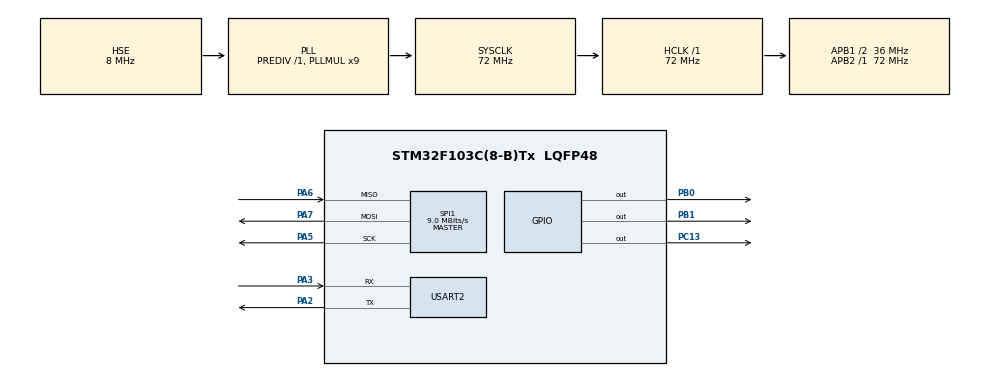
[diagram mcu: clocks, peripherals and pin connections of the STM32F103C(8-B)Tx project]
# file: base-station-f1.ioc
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Dma.Request0=USART2_RX
Dma.USART2_RX.0.Direction=DMA_PERIPH_TO_MEMORY
Dma.USART2_RX.0.Instance=DMA1_Channel6
Dma.USART2_RX.0.MemDataAlignment=DMA_MDATAALIGN_BYTE
Dma.USART2_RX.0.MemInc=DMA_MINC_ENABLE
Dma.USART2_RX.0.Mode=DMA_NORMAL
Dma.USART2_RX.0.PeriphDataAlignment=DMA_PDATAALIGN_BYTE
Dma.USART2_RX.0.PeriphInc=DMA_PINC_DISABLE
Dma.USART2_RX.0.Priority=DMA_PRIORITY_LOW
Mcu.Family=STM32F1
Mcu.Name=STM32F103C(8-B)Tx
Mcu.Package=LQFP48
NVIC.DMA1_Channel6_IRQn=true\:0\:0\:false\:false\:true\:false\:true\:true
NVIC.PriorityGroup=NVIC_PRIORITYGROUP_4
NVIC.USART2_IRQn=true\:0\:0\:false\:false\:true\:true\:true\:true
PA13.Mode=Serial_Wire
PA13.Signal=SYS_JTMS-SWDIO
PA14.Mode=Serial_Wire
PA14.Signal=SYS_JTCK-SWCLK
PA2.Mode=Asynchronous
PA2.Signal=USART2_TX
PA3.Mode=Asynchronous
PA3.Signal=USART2_RX
PA5.Mode=Full_Duplex_Master
PA5.Signal=SPI1_SCK
PA6.Mode=Full_Duplex_Master
PA6.Signal=SPI1_MISO
PA7.Mode=Full_Duplex_Master
PA7.Signal=SPI1_MOSI
PB0.Signal=GPIO_Output
PB1.Signal=GPIO_Output
PC13-TAMPER-RTC.Signal=GPIO_Output
PD0-OSC_IN.Mode=HSE-External-Oscillator
PD0-OSC_IN.Signal=RCC_OSC_IN
PD1-OSC_OUT.Mode=HSE-External-Oscillator
PD1-OSC_OUT.Signal=RCC_OSC_OUT
ProjectManager.HeapSize=0x200
ProjectManager.StackSize=0x400
ProjectManager.TargetToolchain=STM32CubeIDE
RCC.AHBFreq_Value=72000000
RCC.APB1CLKDivider=RCC_HCLK_DIV2
RCC.APB1Freq_Value=36000000
RCC.APB1TimFreq_Value=72000000
RCC.APB2Freq_Value=72000000
RCC.APB2TimFreq_Value=72000000
RCC.HCLKFreq_Value=72000000
RCC.PLLMUL=RCC_PLL_MUL9
RCC.PLLSourceVirtual=RCC_PLLSOURCE_HSE
RCC.SYSCLKFreq_VALUE=72000000
RCC.SYSCLKSource=RCC_SYSCLKSOURCE_PLLCLK
RCC.USBFreq_Value=72000000
SPI1.BaudRatePrescaler=SPI_BAUDRATEPRESCALER_8
SPI1.CalculateBaudRate=9.0 MBits/s
SPI1.Direction=SPI_DIRECTION_2LINES
SPI1.Mode=SPI_MODE_MASTER
SPI1.VirtualType=VM_MASTER
USART2.VirtualMode=VM_ASYNC
board=custom

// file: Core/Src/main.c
/* USER CODE BEGIN Header */
/**
  ******************************************************************************
  * @file           : main.c
  * @brief          : Main program body
  ******************************************************************************
  * @attention
  *
  * Copyright (c) 2023 STMicroelectronics.
  * All rights reserved.
  *
  * This software is licensed under terms that can be found in the LICENSE file
  * in the root directory of this software component.
  * If no LICENSE file comes with this software, it is provided AS-IS.
  *
  ******************************************************************************
  */
/* USER CODE END Header */
#include "main.h"

/* USER CODE BEGIN Includes */
#include "nrf24.h"
#include <string.h>
/* USER CODE END Includes */

/* USER CODE BEGIN PTD */
enum {
  SEND_FLAG_RESET = 0,
  SEND_FLAG_SET
};
/* USER CODE END PTD */

/* USER CODE BEGIN PD */
#define LED_GPIO_PORT           GPIOC
#define LED_GPIO_PIN            GPIO_PIN_13

#define TX_ONLY
#define nRF24L01_SYSMIC_CHANNEL 0x6A
/* USER CODE END PD */

SPI_HandleTypeDef hspi1;

UART_HandleTypeDef huart2;
DMA_HandleTypeDef hdma_usart2_rx;

/* USER CODE BEGIN PV */
uint8_t serial_data[64];
volatile uint32_t serial_len;
volatile uint8_t send_flag = 0;
uint8_t status;

nRF24_Handler_t tx_device;
nRF24_Handler_t rx_device;
uint8_t rx_len;

uint8_t tx_node_addr[5] = {'s', 'y', 's', 't', 'x'};
uint8_t rx_node_addr[5] = {'s', 'y', 's', 'r', 'x'};

uint8_t debug_reg[5];
/* USER CODE END PV */

void SystemClock_Config(void);
static void MX_GPIO_Init(void);
static void MX_DMA_Init(void);
static void MX_SPI1_Init(void);
static void MX_USART2_UART_Init(void);
/* USER CODE BEGIN PFP */
void nRF24_TxPacket(nRF24_Handler_t *device, uint8_t* Buf, uint32_t Len);
/* USER CODE END PFP */

/* USER CODE BEGIN 0 */
uint32_t packet_sent = 0;
/* USER CODE END 0 */

int main(void)
{

  /* MCU Configuration--------------------------------------------------------*/

  /* Reset of all peripherals, Initializes the Flash interface and the Systick. */
  HAL_Init();

  /* Configure the system clock */
  SystemClock_Config();

  /* Initialize all configured peripherals */
  MX_GPIO_Init();
  MX_DMA_Init();
  MX_SPI1_Init();
  MX_USART2_UART_Init();
  /* USER CODE BEGIN 2 */

  nRF24_HW_Init(&tx_device, &hspi1, GPIOB, GPIO_PIN_1, GPIOB, GPIO_PIN_0);
  nRF24_Init(&tx_device);
  nRF24_SetAddr(&tx_device, nRF24_PIPETX, rx_node_addr);
  nRF24_SetRFChannel(&tx_device, nRF24L01_SYSMIC_CHANNEL);
  nRF24_SetRXPipe(&tx_device, nRF24_PIPE0, nRF24_AA_OFF, 30);
  nRF24_DisableAA(&tx_device, nRF24_PIPETX);
  nRF24_SetPowerMode(&tx_device, nRF24_PWR_UP);
  nRF24_SetOperationalMode(&tx_device, nRF24_MODE_TX);

#ifndef TX_ONLY
  nRF24_HW_Init(&rx_device, &hspi2, GPIOB, GPIO_PIN_0, GPIOB, GPIO_PIN_1);
  nRF24_Init(&rx_device);
  nRF24_SetRFChannel(&rx_device, nRF24L01_SYSMIC_CHANNEL);
  nRF24_ReadMBReg(&rx_device, nRF24_REG_RX_ADDR_P0, debug_reg, 5);
  //nRF24_SetAddr(&rx_device, nRF24_PIPE1, rx_node_addr);
  //nRF24_SetRXPipe(&rx_device, nRF24_PIPE1, nRF24_AA_OFF, 30);
  nRF24_DisableAA(&rx_device, nRF24_PIPETX);
  nRF24_SetPowerMode(&rx_device, nRF24_PWR_UP);
  nRF24_SetOperationalMode(&rx_device, nRF24_MODE_RX);
  nRF24_RX_ON(&rx_device);
#endif

  // Link rx_buffer address to UART-DMARX
	HAL_UART_Receive_DMA(&huart2, serial_data, 64);
	__HAL_DMA_DISABLE_IT(huart2.hdmarx, DMA_IT_HT | DMA_IT_TC);
	__HAL_DMA_DISABLE(huart2.hdmarx);

	// LISR must be cleared before re-enabling DMA stream
	__HAL_DMA_CLEAR_FLAG(huart2.hdmarx, DMA_FLAG_GL6);
	huart2.hdmarx->Instance->CNDTR = 64;

	// Re-enable UART to listen Nextion again
	__HAL_DMA_ENABLE(huart2.hdmarx);
	__HAL_UART_ENABLE_IT(&huart2, UART_IT_IDLE);

  memset(serial_data, 'a', 30);
  serial_len = 30;

#ifndef TX_ONLY
  nRF24_ReadMBReg(&rx_device, nRF24_REG_TX_ADDR, debug_reg, 5);
#endif
  nRF24_ReadMBReg(&tx_device, nRF24_REG_TX_ADDR, debug_reg, 5);
  /* USER CODE END 2 */

  /* Infinite loop */
  /* USER CODE BEGIN WHILE */
  while (1) {
    //status = nRF24_GetStatus(&tx_device);
    if (send_flag) {
      nRF24_TxPacket(&tx_device, serial_data, serial_len);
      packet_sent++;
      send_flag = SEND_FLAG_RESET;
    }
#ifndef TX_ONLY
    status = nRF24_GetStatus(&rx_device);
		if(status & nRF24_FLAG_RX_DR) {
			nRF24_ReadPayload(&rx_device, rx_device.rx_data, &rx_len);
			nRF24_FlushRX(&rx_device);
			nRF24_ClearIRQFlags(&rx_device);

      HAL_UART_Transmit(&huart3, rx_device.rx_data, rx_len, HAL_MAX_DELAY);
		}
#endif
    /* USER CODE END WHILE */

  }
}

void SystemClock_Config(void)
{
  RCC_OscInitTypeDef RCC_OscInitStruct = {0};
  RCC_ClkInitTypeDef RCC_ClkInitStruct = {0};

  /** Initializes the RCC Oscillators according to the specified parameters
  * in the RCC_OscInitTypeDef structure.
  */
  RCC_OscInitStruct.OscillatorType = RCC_OSCILLATORTYPE_HSE;
  RCC_OscInitStruct.HSEState = RCC_HSE_ON;
  RCC_OscInitStruct.HSEPredivValue = RCC_HSE_PREDIV_DIV1;
  RCC_OscInitStruct.HSIState = RCC_HSI_ON;
  RCC_OscInitStruct.PLL.PLLState = RCC_PLL_ON;
  RCC_OscInitStruct.PLL.PLLSource = RCC_PLLSOURCE_HSE;
  RCC_OscInitStruct.PLL.PLLMUL = RCC_PLL_MUL9;
  if (HAL_RCC_OscConfig(&RCC_OscInitStruct) != HAL_OK)
  {
    Error_Handler();
  }

  /** Initializes the CPU, AHB and APB buses clocks
  */
  RCC_ClkInitStruct.ClockType = RCC_CLOCKTYPE_HCLK|RCC_CLOCKTYPE_SYSCLK
                              |RCC_CLOCKTYPE_PCLK1|RCC_CLOCKTYPE_PCLK2;
  RCC_ClkInitStruct.SYSCLKSource = RCC_SYSCLKSOURCE_PLLCLK;
  RCC_ClkInitStruct.AHBCLKDivider = RCC_SYSCLK_DIV1;
  RCC_ClkInitStruct.APB1CLKDivider = RCC_HCLK_DIV2;
  RCC_ClkInitStruct.APB2CLKDivider = RCC_HCLK_DIV1;

  if (HAL_RCC_ClockConfig(&RCC_ClkInitStruct, FLASH_LATENCY_2) != HAL_OK)
  {
    Error_Handler();
  }
}

static void MX_SPI1_Init(void)
{

  /* SPI1 parameter configuration*/
  hspi1.Instance = SPI1;
  hspi1.Init.Mode = SPI_MODE_MASTER;
  hspi1.Init.Direction = SPI_DIRECTION_2LINES;
  hspi1.Init.DataSize = SPI_DATASIZE_8BIT;
  hspi1.Init.CLKPolarity = SPI_POLARITY_LOW;
  hspi1.Init.CLKPhase = SPI_PHASE_1EDGE;
  hspi1.Init.NSS = SPI_NSS_SOFT;
  hspi1.Init.BaudRatePrescaler = SPI_BAUDRATEPRESCALER_8;
  hspi1.Init.FirstBit = SPI_FIRSTBIT_MSB;
  hspi1.Init.TIMode = SPI_TIMODE_DISABLE;
  hspi1.Init.CRCCalculation = SPI_CRCCALCULATION_DISABLE;
  hspi1.Init.CRCPolynomial = 10;
  if (HAL_SPI_Init(&hspi1) != HAL_OK)
  {
    Error_Handler();
  }

}

static void MX_USART2_UART_Init(void)
{

  huart2.Instance = USART2;
  huart2.Init.BaudRate = 115200;
  huart2.Init.WordLength = UART_WORDLENGTH_8B;
  huart2.Init.StopBits = UART_STOPBITS_1;
  huart2.Init.Parity = UART_PARITY_NONE;
  huart2.Init.Mode = UART_MODE_TX_RX;
  huart2.Init.HwFlowCtl = UART_HWCONTROL_NONE;
  huart2.Init.OverSampling = UART_OVERSAMPLING_16;
  if (HAL_UART_Init(&huart2) != HAL_OK)
  {
    Error_Handler();
  }

}

static void MX_DMA_Init(void)
{

  /* DMA controller clock enable */
  __HAL_RCC_DMA1_CLK_ENABLE();

  /* DMA interrupt init */
  /* DMA1_Channel6_IRQn interrupt configuration */
  HAL_NVIC_SetPriority(DMA1_Channel6_IRQn, 0, 0);
  HAL_NVIC_EnableIRQ(DMA1_Channel6_IRQn);

}

static void MX_GPIO_Init(void)
{
  GPIO_InitTypeDef GPIO_InitStruct = {0};

  /* GPIO Ports Clock Enable */
  __HAL_RCC_GPIOC_CLK_ENABLE();
  __HAL_RCC_GPIOD_CLK_ENABLE();
  __HAL_RCC_GPIOA_CLK_ENABLE();
  __HAL_RCC_GPIOB_CLK_ENABLE();

  /*Configure GPIO pin Output Level */
  HAL_GPIO_WritePin(GPIOC, GPIO_PIN_13, GPIO_PIN_RESET);

  /*Configure GPIO pin Output Level */
  HAL_GPIO_WritePin(GPIOB, GPIO_PIN_0|GPIO_PIN_1, GPIO_PIN_RESET);

  /*Configure GPIO pin : PC13 */
  GPIO_InitStruct.Pin = GPIO_PIN_13;
  GPIO_InitStruct.Mode = GPIO_MODE_OUTPUT_PP;
  GPIO_InitStruct.Pull = GPIO_NOPULL;
  GPIO_InitStruct.Speed = GPIO_SPEED_FREQ_LOW;
  HAL_GPIO_Init(GPIOC, &GPIO_InitStruct);

  /*Configure GPIO pins : PB0 PB1 */
  GPIO_InitStruct.Pin = GPIO_PIN_0|GPIO_PIN_1;
  GPIO_InitStruct.Mode = GPIO_MODE_OUTPUT_PP;
  GPIO_InitStruct.Pull = GPIO_NOPULL;
  GPIO_InitStruct.Speed = GPIO_SPEED_FREQ_LOW;
  HAL_GPIO_Init(GPIOB, &GPIO_InitStruct);

}

/* USER CODE BEGIN 4 */
void nRF24_TxPacket(nRF24_Handler_t *device, uint8_t* Buf, uint32_t Len) {
	HAL_GPIO_WritePin(LED_GPIO_PORT, LED_GPIO_PIN, GPIO_PIN_SET);
	/*
	for(uint32_t i = 0; i < Len; i++)	{
		device->tx_data[i] = *Buf++;
	}
  */
	if(Len >= 24)	{
		nRF24_WritePayload(device, Buf, Len);
		nRF24_CE_State(device, GPIO_PIN_SET);

		while(!(nRF24_GetStatus(device) & (nRF24_FLAG_TX_DS)));

		nRF24_ClearIRQFlags(device);
		nRF24_FlushTX(device);
		nRF24_CE_State(device, GPIO_PIN_RESET);
	}
	HAL_GPIO_WritePin(LED_GPIO_PORT, LED_GPIO_PIN, GPIO_PIN_RESET);
}

void HAL_UART_RxCpltCallback(UART_HandleTypeDef *huart) {
	__HAL_UART_CLEAR_IDLEFLAG(huart);
	__HAL_DMA_DISABLE(huart->hdmarx);

	// Store length of message before resetting NDTR
	serial_len = 64 - huart->hdmarx->Instance->CNDTR;

	// LISR must be cleared before re-enabling DMA stream
  __HAL_DMA_CLEAR_FLAG(huart->hdmarx, DMA_FLAG_GL6);
	huart->hdmarx->Instance->CNDTR = 64;

	// Re-enable UART
	__HAL_DMA_ENABLE(huart->hdmarx);
	send_flag = SEND_FLAG_SET;
}
/* USER CODE END 4 */

void Error_Handler(void)
{
  __disable_irq();
  while (1)
  {
  }
}
